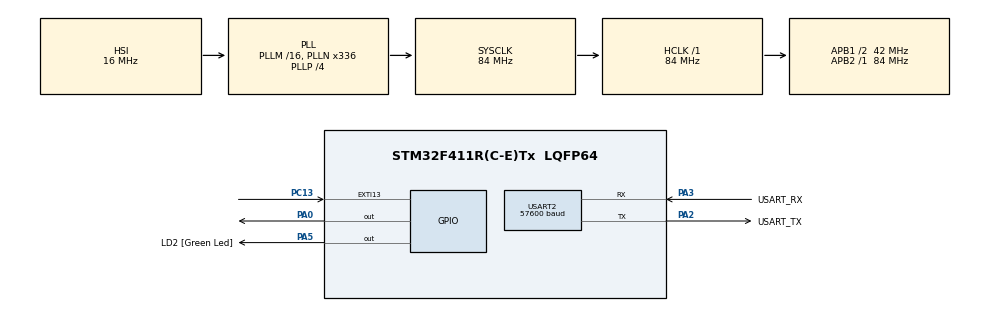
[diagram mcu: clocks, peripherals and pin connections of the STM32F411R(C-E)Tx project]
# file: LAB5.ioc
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Mcu.Family=STM32F4
Mcu.Name=STM32F411R(C-E)Tx
Mcu.Package=LQFP64
NVIC.EXTI15_10_IRQn=true\:0\:0\:false\:false\:true\:true\:true\:true
NVIC.PriorityGroup=NVIC_PRIORITYGROUP_0
NVIC.USART2_IRQn=true\:0\:0\:false\:false\:true\:true\:true\:true
PA0-WKUP.Signal=GPIO_Output
PA13.GPIO_Label=TMS
PA13.Mode=Serial_Wire
PA13.Signal=SYS_JTMS-SWDIO
PA14.GPIO_Label=TCK
PA14.Mode=Serial_Wire
PA14.Signal=SYS_JTCK-SWCLK
PA2.GPIO_Label=USART_TX
PA2.Mode=Asynchronous
PA2.Signal=USART2_TX
PA3.GPIO_Label=USART_RX
PA3.Mode=Asynchronous
PA3.Signal=USART2_RX
PA5.GPIO_Label=LD2 [Green Led]
PA5.Signal=GPIO_Output
PB3.GPIO_Label=SWO
PB3.Signal=SYS_JTDO-SWO
PC13-ANTI_TAMP.GPIO_ModeDefaultEXTI=GPIO_MODE_IT_RISING_FALLING
PC13-ANTI_TAMP.Signal=GPXTI13
PC14-OSC32_IN.Mode=LSE-External-Oscillator
PC14-OSC32_IN.Signal=RCC_OSC32_IN
PC15-OSC32_OUT.Mode=LSE-External-Oscillator
PC15-OSC32_OUT.Signal=RCC_OSC32_OUT
PH0\ -\ OSC_IN.Mode=HSE-External-Clock-Source
PH0\ -\ OSC_IN.Signal=RCC_OSC_IN
PH1\ -\ OSC_OUT.Mode=HSE-External-Clock-Source
PH1\ -\ OSC_OUT.Signal=RCC_OSC_OUT
ProjectManager.HeapSize=0x200
ProjectManager.StackSize=0x400
ProjectManager.TargetToolchain=STM32CubeIDE
RCC.48MHZClocksFreq_Value=84000000
RCC.AHBFreq_Value=84000000
RCC.APB1CLKDivider=RCC_HCLK_DIV2
RCC.APB1Freq_Value=42000000
RCC.APB1TimFreq_Value=84000000
RCC.APB2Freq_Value=84000000
RCC.APB2TimFreq_Value=84000000
RCC.CortexFreq_Value=84000000
RCC.FLatency-AdvancedSettings=FLASH_LATENCY_2
RCC.HCLKFreq_Value=84000000
RCC.HSE_VALUE=8000000
RCC.HSI_VALUE=16000000
RCC.PLLN=336
RCC.PLLP=RCC_PLLP_DIV4
RCC.SYSCLKFreq_VALUE=84000000
RCC.SYSCLKSource=RCC_SYSCLKSOURCE_PLLCLK
RCC.VCOOutputFreq_Value=336000000
USART2.BaudRate=57600
USART2.VirtualMode=VM_ASYNC
board=NUCLEO-F411RE

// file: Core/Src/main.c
/* USER CODE BEGIN Header */
/**
  ******************************************************************************
  * @file           : main.c
  * @brief          : Main program body
  ******************************************************************************
  * @attention
  *
  * Copyright (c) 2023 STMicroelectronics.
  * All rights reserved.
  *
  * This software is licensed under terms that can be found in the LICENSE file
  * in the root directory of this software component.
  * If no LICENSE file comes with this software, it is provided AS-IS.
  *
  ******************************************************************************
  */
/* USER CODE END Header */
#include "main.h"

/* USER CODE BEGIN Includes */
#include "stdio.h"
#include "string.h"
/* USER CODE END Includes */

UART_HandleTypeDef huart2;

/* USER CODE BEGIN PV */
uint8_t RxBuffer[20];
uint8_t TxBuffer[360];
uint8_t main_menu[] = "\n\n\n   _ Welcome to CAT's Control _\r\n\n\n\n"
"             MAIN MENU\r\n\n"
"      button         command\r\n"
"   ----------------------------\r\n"
"      0          LED CONTROL\r\n"
"      1         BUTTON STATUS\r\n\n\n"
"\n Please press the button .  .  .\r\n\n";
uint8_t State_UART[3];
uint8_t Hz_LED = 1;
uint8_t Hz_LED_State = 1;   // LED on
uint8_t Status_Button[10];
float Time = 500;
/* USER CODE END PV */

void SystemClock_Config(void);
static void MX_GPIO_Init(void);
static void MX_USART2_UART_Init(void);
/* USER CODE BEGIN PFP */
void DummyTask(uint16_t Hz_LED);
/* USER CODE END PFP */

int main(void)
{

  /* MCU Configuration--------------------------------------------------------*/

  /* Reset of all peripherals, Initializes the Flash interface and the Systick. */
  HAL_Init();

  /* Configure the system clock */
  SystemClock_Config();

  /* Initialize all configured peripherals */
  MX_GPIO_Init();
  MX_USART2_UART_Init();
  /* USER CODE BEGIN 2 */
  HAL_UART_Receive_IT(&huart2, RxBuffer, 1);		// start Interrupt
  HAL_UART_Transmit_IT(&huart2, main_menu, 227);	// print UART main menu
  Status_Button[0] = 'U';Status_Button[1] = 'n';Status_Button[2] = 'P';		// set initial status of button
  Status_Button[3] = 'r';Status_Button[4] = 'e';Status_Button[5] = 's';
  Status_Button[6] = 's';Status_Button[7] = '\0';
  /* USER CODE END 2 */

  /* Infinite loop */
  /* USER CODE BEGIN WHILE */
  while (1)
  {
	  DummyTask(Hz_LED);	// toggle LED
	  HAL_GPIO_TogglePin(GPIOA, GPIO_PIN_0);	// for logic analyzer
    /* USER CODE END WHILE */

  }
}

void SystemClock_Config(void)
{
  RCC_OscInitTypeDef RCC_OscInitStruct = {0};
  RCC_ClkInitTypeDef RCC_ClkInitStruct = {0};

  /** Configure the main internal regulator output voltage
  */
  __HAL_RCC_PWR_CLK_ENABLE();
  __HAL_PWR_VOLTAGESCALING_CONFIG(PWR_REGULATOR_VOLTAGE_SCALE1);

  /** Initializes the RCC Oscillators according to the specified parameters
  * in the RCC_OscInitTypeDef structure.
  */
  RCC_OscInitStruct.OscillatorType = RCC_OSCILLATORTYPE_HSI;
  RCC_OscInitStruct.HSIState = RCC_HSI_ON;
  RCC_OscInitStruct.HSICalibrationValue = RCC_HSICALIBRATION_DEFAULT;
  RCC_OscInitStruct.PLL.PLLState = RCC_PLL_ON;
  RCC_OscInitStruct.PLL.PLLSource = RCC_PLLSOURCE_HSI;
  RCC_OscInitStruct.PLL.PLLM = 16;
  RCC_OscInitStruct.PLL.PLLN = 336;
  RCC_OscInitStruct.PLL.PLLP = RCC_PLLP_DIV4;
  RCC_OscInitStruct.PLL.PLLQ = 4;
  if (HAL_RCC_OscConfig(&RCC_OscInitStruct) != HAL_OK)
  {
    Error_Handler();
  }

  /** Initializes the CPU, AHB and APB buses clocks
  */
  RCC_ClkInitStruct.ClockType = RCC_CLOCKTYPE_HCLK|RCC_CLOCKTYPE_SYSCLK
                              |RCC_CLOCKTYPE_PCLK1|RCC_CLOCKTYPE_PCLK2;
  RCC_ClkInitStruct.SYSCLKSource = RCC_SYSCLKSOURCE_PLLCLK;
  RCC_ClkInitStruct.AHBCLKDivider = RCC_SYSCLK_DIV1;
  RCC_ClkInitStruct.APB1CLKDivider = RCC_HCLK_DIV2;
  RCC_ClkInitStruct.APB2CLKDivider = RCC_HCLK_DIV1;

  if (HAL_RCC_ClockConfig(&RCC_ClkInitStruct, FLASH_LATENCY_2) != HAL_OK)
  {
    Error_Handler();
  }
}

static void MX_USART2_UART_Init(void)
{

  huart2.Instance = USART2;
  huart2.Init.BaudRate = 57600;
  huart2.Init.WordLength = UART_WORDLENGTH_8B;
  huart2.Init.StopBits = UART_STOPBITS_1;
  huart2.Init.Parity = UART_PARITY_NONE;
  huart2.Init.Mode = UART_MODE_TX_RX;
  huart2.Init.HwFlowCtl = UART_HWCONTROL_NONE;
  huart2.Init.OverSampling = UART_OVERSAMPLING_16;
  if (HAL_UART_Init(&huart2) != HAL_OK)
  {
    Error_Handler();
  }

}

static void MX_GPIO_Init(void)
{
  GPIO_InitTypeDef GPIO_InitStruct = {0};

  /* GPIO Ports Clock Enable */
  __HAL_RCC_GPIOC_CLK_ENABLE();
  __HAL_RCC_GPIOH_CLK_ENABLE();
  __HAL_RCC_GPIOA_CLK_ENABLE();
  __HAL_RCC_GPIOB_CLK_ENABLE();

  /*Configure GPIO pin Output Level */
  HAL_GPIO_WritePin(GPIOA, GPIO_PIN_0|LD2_Pin, GPIO_PIN_RESET);

  /*Configure GPIO pin : PC13 */
  GPIO_InitStruct.Pin = GPIO_PIN_13;
  GPIO_InitStruct.Mode = GPIO_MODE_IT_RISING_FALLING;
  GPIO_InitStruct.Pull = GPIO_NOPULL;
  HAL_GPIO_Init(GPIOC, &GPIO_InitStruct);

  /*Configure GPIO pins : PA0 LD2_Pin */
  GPIO_InitStruct.Pin = GPIO_PIN_0|LD2_Pin;
  GPIO_InitStruct.Mode = GPIO_MODE_OUTPUT_PP;
  GPIO_InitStruct.Pull = GPIO_NOPULL;
  GPIO_InitStruct.Speed = GPIO_SPEED_FREQ_LOW;
  HAL_GPIO_Init(GPIOA, &GPIO_InitStruct);

  /* EXTI interrupt init*/
  HAL_NVIC_SetPriority(EXTI15_10_IRQn, 0, 0);
  HAL_NVIC_EnableIRQ(EXTI15_10_IRQn);

}

/* USER CODE BEGIN 4 */
void DummyTask(uint16_t Hz_LED)
{
	static uint32_t timestamp=0;
	if(HAL_GetTick()>=timestamp)
	{
		Time = (1.0/Hz_LED)*500.0;			// 1 Hz = 500 ms on & 500 ms off
		timestamp = HAL_GetTick()+Time;
		if(Hz_LED_State == 0){				// LED off
			HAL_GPIO_WritePin(LD2_GPIO_Port, LD2_Pin, GPIO_PIN_RESET);
		}
		else if(Hz_LED_State == 1){			// LED toggle
			HAL_GPIO_TogglePin(LD2_GPIO_Port, LD2_Pin);
		}
	}
}

void HAL_GPIO_EXTI_Callback(uint16_t GPIO_Pin)
{
	if(GPIO_Pin == GPIO_PIN_13){		// interrupt by button
		if(HAL_GPIO_ReadPin(GPIOC, GPIO_PIN_13) == 0 && State_UART[0] == '1'){
			Status_Button[0] = 'P';Status_Button[1] = 'r';Status_Button[2] = 'e';
			Status_Button[3] = 's';Status_Button[4] = 's';Status_Button[5] = '\0';
			sprintf((char*)TxBuffer,"\n\n\r Button pressed : %s\r\n"
					"\n\n\n\n          BUTTON STATUS\r\n"
					"\n       button status : %s\r\n\n\n\n\n"
					"                     Press 'x' to Back.\r\n\n",RxBuffer,Status_Button);
			HAL_UART_Transmit_IT(&huart2, TxBuffer, strlen((char*)TxBuffer));
			HAL_UART_Receive_IT(&huart2, RxBuffer, 1);
		}
		else if(HAL_GPIO_ReadPin(GPIOC, GPIO_PIN_13) == 1 && State_UART[0] == '1'){
			Status_Button[0] = 'U';Status_Button[1] = 'n';Status_Button[2] = 'P';
			Status_Button[3] = 'r';Status_Button[4] = 'e';Status_Button[5] = 's';
			Status_Button[6] = 's';Status_Button[7] = '\0';
			sprintf((char*)TxBuffer,"\n\n\r Button pressed : %s\r\n"
					"\n\n\n\n          BUTTON STATUS\r\n"
					"\n       button status : %s\r\n\n\n\n\n"
					"                     Press 'x' to Back.\r\n\n",RxBuffer,Status_Button);
			HAL_UART_Transmit_IT(&huart2, TxBuffer, strlen((char*)TxBuffer));
			HAL_UART_Receive_IT(&huart2, RxBuffer, 1);
		}
	}
}

void HAL_UART_RxCpltCallback(UART_HandleTypeDef *huart)
{
	if(huart == &huart2)			// interrupt by UART
	{
		RxBuffer[1] = '\0';

	    if(RxBuffer[0] == '0' && State_UART[0] == '\0'){
	    	sprintf((char*)TxBuffer,"\n\r Button pressed : %s\r\n\n\n"
	    			"         LED CONTROL MENU\r\n\n      button         command\r\n"
	    			"   ----------------------------\r\n"
	    			"       a        Speed Up +1 Hz\r\n"
	    			"       s       Speed Down -1 Hz\r\n"
	    			"       d            On/Off\r\n\n"
	    			"\n Please press the button .  .  .\r\n\n"
	    			"\n                     Press 'x' to Back.\r\n",RxBuffer);
		    State_UART[0] = '0';
	    }
	    else if(RxBuffer[0] == '1' && State_UART[0] == '\0'){
	    	sprintf((char*)TxBuffer,"\n\n\r Button pressed : %s\r\n"
					"\n\n\n\n          BUTTON STATUS\r\n"
					"\n       button status : %s\r\n\n\n\n\n"
					"                     Press 'x' to Back.\r\n\n",RxBuffer,Status_Button);
	    	State_UART[0] = '1';
	    }
	    else if(RxBuffer[0] == 'a' && State_UART[0] == '0'){
	    	Hz_LED += 1;		// 1 Hz = 1000 msec
	    	State_UART[1] = 'a';
	    	sprintf((char*)TxBuffer,"\n\r Button pressed : %s\r\n\n\n"
	    			"         LED CONTROL MENU\r\n\n      button         command\r\n"
	    			"   ----------------------------\r\n"
	    			"       a        Speed Up +1 Hz\r\n"
	    			"       s       Speed Down -1 Hz\r\n"
	    			"       d            On/Off\r\n\n"
	    			"    Frequency of LED : %d\r\n"
	    			"\n Please press the button .  .  .\r\n"
	    			"\n                     Press 'x' to Back.\r\n",RxBuffer,Hz_LED);
	    }
	    else if(RxBuffer[0] == 's' && State_UART[0] == '0'){
	    	Hz_LED -= 1;
	    	State_UART[1] = 's';
	    	sprintf((char*)TxBuffer,"\n\r Button pressed : %s\r\n\n\n"
	    			"         LED CONTROL MENU\r\n\n      button         command\r\n"
	    			"   ----------------------------\r\n"
	    			"       a        Speed Up +1 Hz\r\n"
	    			"       s       Speed Down -1 Hz\r\n"
	    			"       d            On/Off\r\n\n"
	    			"     Frequency of LED : %d\r\n"
	    			"\n Please press the button .  .  .\r\n"
	    			"\n                     Press 'x' to Back.\r\n",RxBuffer,Hz_LED);
	    }
	    else if(RxBuffer[0] == 'd' && State_UART[0] == '0'){
		    State_UART[1] = 'd';
		    if(Hz_LED_State == 1){		// on to off
		    	sprintf((char*)TxBuffer,"\n\r Button pressed : %s\r\n\n\n"
		    			"         LED CONTROL MENU\r\n\n      button         command\r\n"
		    			"   ----------------------------\r\n"
		    			"       a        Speed Up +1 Hz\r\n"
		    			"       s       Speed Down -1 Hz\r\n"
		    			"       d            On/Off\r\n\n"
		    			"     State LED : Off\r\n"
		    			"\n Please press the button .  .  .\r\n"
		    			"\n                     Press 'x' to Back.\r\n",RxBuffer);
			    Hz_LED_State = 0;
		    }
		    else if(Hz_LED_State == 0){		// off to on
		    	sprintf((char*)TxBuffer,"\n\r Button pressed : %s\r\n\n\n"
		    			"         LED CONTROL MENU\r\n\n      button         command\r\n"
		    			"   ----------------------------\r\n"
		    			"       a        Speed Up +1 Hz\r\n"
		    			"       s       Speed Down -1 Hz\r\n"
		    			"       d            On/Off\r\n\n"
		    			"     State LED : On\r\n"
		    			"\n Please press the button .  .  .\r\n"
		    			"\n                     Press 'x' to Back.\r\n",RxBuffer);
			    Hz_LED_State = 1;
		    }
	    }
	    else if(RxBuffer[0] == 'x' && (State_UART[0] == '0' || State_UART[0] == '1')){
	    	sprintf((char*)TxBuffer,"\n\r Button pressed : %s\r\n"
	    			"\n   _ Welcome to CAT's Control _\r\n\n\n\n"
	    			"             MAIN MENU\r\n\n      button         command\r\n"
	    			"   ----------------------------\r\n"
	    			"      0          LED CONTROL\r\n"
	    			"      1         BUTTON STATUS\r\n\n"
	    			"\n Please press the button .  .  .\r\n\n",RxBuffer);
		    State_UART[0] = '\0';
	    }
	    else if(RxBuffer[0] != '1' && RxBuffer[0] != '0'  && State_UART[0] == '\0'){
	    	sprintf((char*)TxBuffer,"\n\r Button pressed : %s\r\n\n  .Error Button.\r\n"
	    			"\n   _ Welcome to CAT's Control _\r\n\n\n"
					"             MAIN MENU\r\n\n      button         command\r\n"
					"   ----------------------------\r\n"
					"      0          LED CONTROL\r\n"
					"      1         BUTTON STATUS\r\n\n"
					"\n Please press the button .  .  .\r\n",RxBuffer);
	    }
	    else if(RxBuffer[0] != 'a' && RxBuffer[0] != 's' && RxBuffer[0] != 'd' && RxBuffer[0] != 'x' && State_UART[0] == '0'){
	    	sprintf((char*)TxBuffer,"\n\r Button pressed : %s\r\n\n  .Error Button.\r\n\n"
	    			"         LED CONTROL MENU\r\n\n      button         command\r\n"
					"   ----------------------------\r\n"
					"       a        Speed Up +1 Hz\r\n"
					"       s       Speed Down -1 Hz\r\n"
					"       d            On/Off\r\n\n"
					"\n Please press the button .  .  .\r\n"
					"\n                     Press 'x' to Back.\r\n",RxBuffer);
	    }
	    else if(RxBuffer[0] != 'x' && State_UART[0] == '1'){
	    	sprintf((char*)TxBuffer,"\n\r Button pressed : %s\r\n\n  .Error Button.\r\n\n"
	    			"\n\n\n          BUTTON STATUS\r\n"
					"\n       button status : %s\r\n\n\n\n"
					"                     Press 'x' to Back.\r\n\n",RxBuffer,Status_Button);
	    }
		HAL_UART_Transmit_IT(&huart2, TxBuffer, strlen((char*)TxBuffer));
		HAL_UART_Receive_IT(&huart2, RxBuffer, 1);
	}
}
/* USER CODE END 4 */

void Error_Handler(void)
{
  __disable_irq();
  while (1)
  {
  }
}
